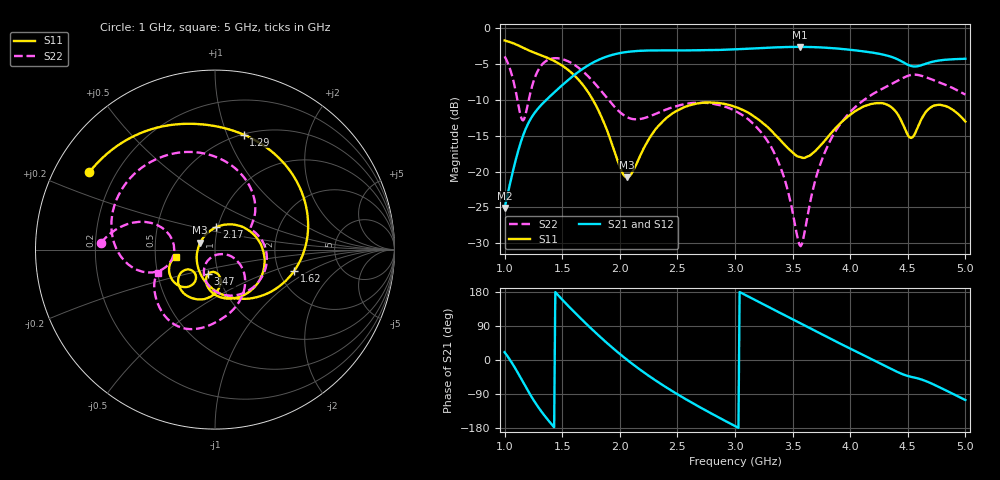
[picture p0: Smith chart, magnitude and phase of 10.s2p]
!Agilent Technologies,N5224A,MY51441093,A.09.90.21
!Agilent N5224A: A.09.90.21
!Date: Wednesday, October 01, 2025 16:38:31
!Correction: S11(Full 2 Port(1,2))
!S21(Full 2 Port(1,2))
!S12(Full 2 Port(1,2))
!S22(Full 2 Port(1,2))
!S2P File: Measurements: S11, S21, S12, S22:
# Hz S  dB  R 50
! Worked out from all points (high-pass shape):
!   401 points, 1 GHz to 5 GHz, reference 50 ohm
!   highest |S21| = -2.60 dB at 3.56 GHz (marker M1); lowest = -25.1 dB at 1 GHz (marker M2)
!   |S21| within 3 dB of the highest: 1.684 GHz to end of sweep
!   lowest |S11| = -20.8 dB at 2.06 GHz (marker M3), VSWR 1.20, Z = 42.3 + j3.26 ohm
!   |S11| at or under -10 dB: 1.766 GHz to end of sweep
!   |S22| runs from -30.4 to -3.9 dB; largest |S21 - S12| = 0.0038
!   S11 on the Smith chart (normalised r, x): 1 GHz: 0.11, +0.28; 1.29 GHz: 0.50, +1.15; 1.62 GHz: 2.42, -0.73; 2.17 GHz: 0.98, +0.25; 3.47 GHz: 0.89, -0.25; 5 GHz: 0.64, -0.06
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1e9  -1.70 148.4  -25.10 20.6  -25.08 20.6  -3.92 176.6
1.08e9  -2.12 128.1  -19.44 -15.7  -19.42 -15.8  -7.59 158.3
1.16e9  -2.71 107.9  -14.99 -58.2  -14.98 -58.3  -12.87 -179.3
1.29e9  -3.61 76.0  -11.21 -123.5  -11.20 -123.5  -5.89 -172.7
1.42e9  -4.48 42.0  -9.11 -173.9  -9.10 -173.9  -4.19 150.6
1.62e9  -6.81 -15.1  -6.34 121.9  -6.33 121.9  -5.25 98.8
1.67e9  -7.72 -30.1  -5.75 106.9  -5.74 106.9  -5.88 87.1
1.84e9  -12.35 -85.1  -4.23 58.1  -4.21 58.1  -8.78 53.5
2.06e9  -20.82 155.2  -3.31 1.2  -3.30 1.2  -12.39 33.2
2.17e9  -18.04 86.5  -3.15 -24.2  -3.14 -24.2  -12.68 28.8
2.34e9  -13.56 33.1  -3.08 -59.9  -3.08 -59.9  -11.75 15.5
2.63e9  -10.65 -22.5  -3.08 -113.4  -3.07 -113.4  -10.43 -21.9
3e9  -10.97 -74.5  -2.94 -174.3  -2.92 -174.3  -11.52 -74.3
3.29e9  -13.90 -103.1  -2.71 140.2  -2.69 140.2  -15.93 -112.2
3.47e9  -16.90 -105.6  -2.61 112.0  -2.59 112.0  -23.42 -122.5
3.56e9  -17.96 -97.8  -2.60 97.9  -2.58 97.9  -30.24 -83.1
3.67e9  -17.50 -85.0  -2.62 80.7  -2.61 80.7  -22.97 -23.6
4.02e9  -11.83 -93.1  -3.04 27.0  -3.01 26.9  -11.36 -52.5
4.34e9  -10.82 -133.6  -3.90 -21.3  -3.87 -21.5  -7.94 -88.4
4.53e9  -15.31 -133.5  -5.28 -44.5  -5.25 -44.8  -6.51 -112.6
4.73e9  -10.79 -138.0  -4.62 -65.4  -4.59 -65.6  -7.27 -138.4
5e9  -13.02 -169.3  -4.26 -105.6  -4.24 -105.8  -9.26 -158.1
